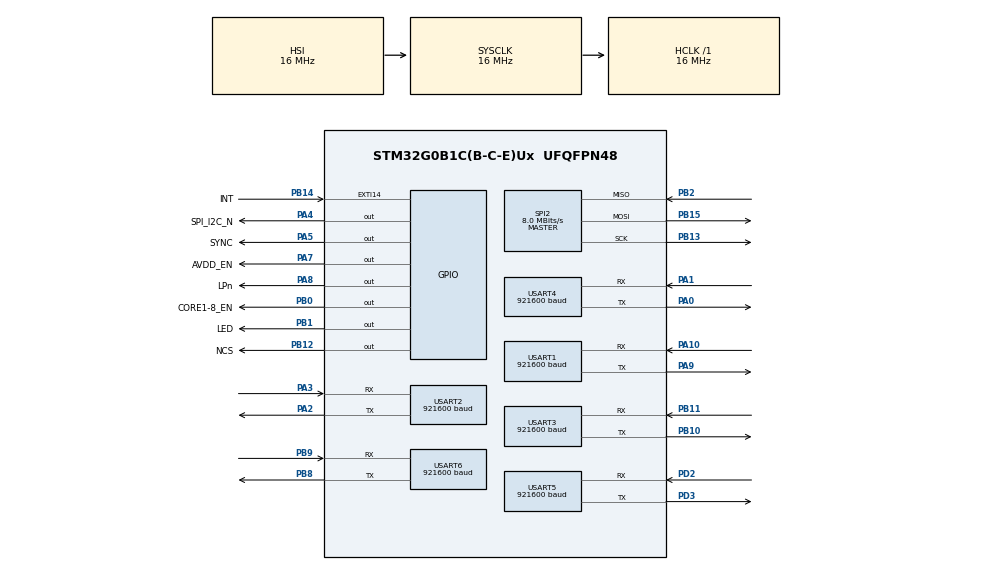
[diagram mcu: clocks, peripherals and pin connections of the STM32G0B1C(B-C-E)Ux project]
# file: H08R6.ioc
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Dma.Request0=USART1_RX
Dma.Request1=USART2_RX
Dma.Request2=USART3_RX
Dma.Request3=USART4_RX
Dma.Request4=USART5_RX
Dma.Request5=USART6_RX
Dma.USART1_RX.0.Direction=DMA_PERIPH_TO_MEMORY
Dma.USART1_RX.0.EventEnable=DISABLE
Dma.USART1_RX.0.Instance=DMA1_Channel1
Dma.USART1_RX.0.MemDataAlignment=DMA_MDATAALIGN_BYTE
Dma.USART1_RX.0.MemInc=DMA_MINC_ENABLE
Dma.USART1_RX.0.Mode=DMA_NORMAL
Dma.USART1_RX.0.PeriphDataAlignment=DMA_PDATAALIGN_BYTE
Dma.USART1_RX.0.PeriphInc=DMA_PINC_DISABLE
Dma.USART1_RX.0.Polarity=HAL_DMAMUX_REQ_GEN_RISING
Dma.USART1_RX.0.Priority=DMA_PRIORITY_LOW
Dma.USART1_RX.0.RequestNumber=1
Dma.USART1_RX.0.SignalID=NONE
Dma.USART1_RX.0.SyncEnable=DISABLE
Dma.USART1_RX.0.SyncPolarity=HAL_DMAMUX_SYNC_NO_EVENT
Dma.USART1_RX.0.SyncRequestNumber=1
Dma.USART1_RX.0.SyncSignalID=NONE
Dma.USART2_RX.1.Direction=DMA_PERIPH_TO_MEMORY
Dma.USART2_RX.1.EventEnable=DISABLE
Dma.USART2_RX.1.Instance=DMA1_Channel2
Dma.USART2_RX.1.MemDataAlignment=DMA_MDATAALIGN_BYTE
Dma.USART2_RX.1.MemInc=DMA_MINC_ENABLE
Dma.USART2_RX.1.Mode=DMA_NORMAL
Dma.USART2_RX.1.PeriphDataAlignment=DMA_PDATAALIGN_BYTE
Dma.USART2_RX.1.PeriphInc=DMA_PINC_DISABLE
Dma.USART2_RX.1.Polarity=HAL_DMAMUX_REQ_GEN_RISING
Dma.USART2_RX.1.Priority=DMA_PRIORITY_LOW
Dma.USART2_RX.1.RequestNumber=1
Dma.USART2_RX.1.SignalID=NONE
Dma.USART2_RX.1.SyncEnable=DISABLE
Dma.USART2_RX.1.SyncPolarity=HAL_DMAMUX_SYNC_NO_EVENT
Dma.USART2_RX.1.SyncRequestNumber=1
Dma.USART2_RX.1.SyncSignalID=NONE
Dma.USART3_RX.2.Direction=DMA_PERIPH_TO_MEMORY
Dma.USART3_RX.2.EventEnable=DISABLE
Dma.USART3_RX.2.Instance=DMA1_Channel3
Dma.USART3_RX.2.MemDataAlignment=DMA_MDATAALIGN_BYTE
Dma.USART3_RX.2.MemInc=DMA_MINC_ENABLE
Dma.USART3_RX.2.Mode=DMA_NORMAL
Dma.USART3_RX.2.PeriphDataAlignment=DMA_PDATAALIGN_BYTE
Dma.USART3_RX.2.PeriphInc=DMA_PINC_DISABLE
Dma.USART3_RX.2.Polarity=HAL_DMAMUX_REQ_GEN_RISING
Dma.USART3_RX.2.Priority=DMA_PRIORITY_LOW
Dma.USART3_RX.2.RequestNumber=1
Dma.USART3_RX.2.SignalID=NONE
Dma.USART3_RX.2.SyncEnable=DISABLE
Dma.USART3_RX.2.SyncPolarity=HAL_DMAMUX_SYNC_NO_EVENT
Dma.USART3_RX.2.SyncRequestNumber=1
Dma.USART3_RX.2.SyncSignalID=NONE
Dma.USART4_RX.3.Direction=DMA_PERIPH_TO_MEMORY
Dma.USART4_RX.3.EventEnable=DISABLE
Dma.USART4_RX.3.Instance=DMA1_Channel4
Dma.USART4_RX.3.MemDataAlignment=DMA_MDATAALIGN_BYTE
Dma.USART4_RX.3.MemInc=DMA_MINC_ENABLE
Dma.USART4_RX.3.Mode=DMA_NORMAL
Dma.USART4_RX.3.PeriphDataAlignment=DMA_PDATAALIGN_BYTE
Dma.USART4_RX.3.PeriphInc=DMA_PINC_DISABLE
Dma.USART4_RX.3.Polarity=HAL_DMAMUX_REQ_GEN_RISING
Dma.USART4_RX.3.Priority=DMA_PRIORITY_LOW
Dma.USART4_RX.3.RequestNumber=1
Dma.USART4_RX.3.SignalID=NONE
Dma.USART4_RX.3.SyncEnable=DISABLE
Dma.USART4_RX.3.SyncPolarity=HAL_DMAMUX_SYNC_NO_EVENT
Dma.USART4_RX.3.SyncRequestNumber=1
Dma.USART4_RX.3.SyncSignalID=NONE
Dma.USART5_RX.4.Direction=DMA_PERIPH_TO_MEMORY
Dma.USART5_RX.4.EventEnable=DISABLE
Dma.USART5_RX.4.Instance=DMA1_Channel5
Dma.USART5_RX.4.MemDataAlignment=DMA_MDATAALIGN_BYTE
Dma.USART5_RX.4.MemInc=DMA_MINC_ENABLE
Dma.USART5_RX.4.Mode=DMA_NORMAL
Dma.USART5_RX.4.PeriphDataAlignment=DMA_PDATAALIGN_BYTE
Dma.USART5_RX.4.PeriphInc=DMA_PINC_DISABLE
Dma.USART5_RX.4.Polarity=HAL_DMAMUX_REQ_GEN_RISING
Dma.USART5_RX.4.Priority=DMA_PRIORITY_LOW
Dma.USART5_RX.4.RequestNumber=1
Dma.USART5_RX.4.SignalID=NONE
Dma.USART5_RX.4.SyncEnable=DISABLE
Dma.USART5_RX.4.SyncPolarity=HAL_DMAMUX_SYNC_NO_EVENT
Dma.USART5_RX.4.SyncRequestNumber=1
Dma.USART5_RX.4.SyncSignalID=NONE
Dma.USART6_RX.5.Direction=DMA_PERIPH_TO_MEMORY
Dma.USART6_RX.5.EventEnable=DISABLE
Dma.USART6_RX.5.Instance=DMA1_Channel6
Dma.USART6_RX.5.MemDataAlignment=DMA_MDATAALIGN_BYTE
Dma.USART6_RX.5.MemInc=DMA_MINC_ENABLE
Dma.USART6_RX.5.Mode=DMA_NORMAL
Dma.USART6_RX.5.PeriphDataAlignment=DMA_PDATAALIGN_BYTE
Dma.USART6_RX.5.PeriphInc=DMA_PINC_DISABLE
Dma.USART6_RX.5.Polarity=HAL_DMAMUX_REQ_GEN_RISING
Dma.USART6_RX.5.Priority=DMA_PRIORITY_LOW
Dma.USART6_RX.5.RequestNumber=1
Dma.USART6_RX.5.SignalID=NONE
Dma.USART6_RX.5.SyncEnable=DISABLE
Dma.USART6_RX.5.SyncPolarity=HAL_DMAMUX_SYNC_NO_EVENT
Dma.USART6_RX.5.SyncRequestNumber=1
Dma.USART6_RX.5.SyncSignalID=NONE
Mcu.Family=STM32G0
Mcu.Name=STM32G0B1C(B-C-E)Ux
Mcu.Package=UFQFPN48
NVIC.DMA1_Ch4_7_DMA2_Ch1_5_DMAMUX1_OVR_IRQn=true\:0\:0\:false\:false\:true\:false\:true\:true
NVIC.DMA1_Channel1_IRQn=true\:0\:0\:false\:false\:true\:false\:true\:true
NVIC.DMA1_Channel2_3_IRQn=true\:0\:0\:false\:false\:true\:false\:true\:true
NVIC.EXTI4_15_IRQn=true\:0\:0\:false\:false\:true\:true\:true\:true
PA0.Mode=Asynchronous
PA0.Signal=USART4_TX
PA1.Mode=Asynchronous
PA1.Signal=USART4_RX
PA10.Mode=Asynchronous
PA10.Signal=USART1_RX
PA2.Mode=Asynchronous
PA2.Signal=USART2_TX
PA3.Mode=Asynchronous
PA3.Signal=USART2_RX
PA4.GPIO_Label=SPI_I2C_N
PA4.PinState=GPIO_PIN_SET
PA4.Signal=GPIO_Output
PA5.GPIO_Label=SYNC
PA5.Signal=GPIO_Output
PA7.GPIO_Label=AVDD_EN
PA7.Signal=GPIO_Output
PA8.GPIO_Label=LPn
PA8.Signal=GPIO_Output
PA9.Mode=Asynchronous
PA9.Signal=USART1_TX
PB0.GPIO_Label=CORE1-8_EN
PB0.Signal=GPIO_Output
PB1.GPIO_Label=LED
PB1.Signal=GPIO_Output
PB10.Mode=Asynchronous
PB10.Signal=USART3_TX
PB11.Mode=Asynchronous
PB11.Signal=USART3_RX
PB12.GPIO_Label=NCS
PB12.Signal=GPIO_Output
PB13.Mode=Full_Duplex_Master
PB13.Signal=SPI2_SCK
PB14.GPIO_Label=INT
PB14.GPIO_ModeDefaultEXTI=GPIO_MODE_IT_FALLING
PB14.Signal=GPXTI14
PB15.Mode=Full_Duplex_Master
PB15.Signal=SPI2_MOSI
PB2.Mode=Full_Duplex_Master
PB2.Signal=SPI2_MISO
PB8.Mode=Asynchronous
PB8.Signal=USART6_TX
PB9.Mode=Asynchronous
PB9.Signal=USART6_RX
PD2.Mode=Asynchronous
PD2.Signal=USART5_RX
PD3.Mode=Asynchronous
PD3.Signal=USART5_TX
PF0-OSC_IN\ (PF0).Mode=HSE-External-Oscillator
PF0-OSC_IN\ (PF0).Signal=RCC_OSC_IN
PF1-OSC_OUT\ (PF1).Mode=HSE-External-Oscillator
PF1-OSC_OUT\ (PF1).Signal=RCC_OSC_OUT
ProjectManager.HeapSize=0x200
ProjectManager.StackSize=0x400
ProjectManager.TargetToolchain=STM32CubeIDE
RCC.AHBFreq_Value=16000000
RCC.CortexFreq_Value=16000000
RCC.EXTERNAL_CLOCK_VALUE=48000
RCC.HCLKFreq_Value=16000000
RCC.HSE_VALUE=8000000
RCC.HSI48_VALUE=48000000
RCC.HSI_VALUE=16000000
RCC.LSE_VALUE=32768
RCC.SYSCLKFreq_VALUE=16000000
RCC.USBFreq_Value=48000000
RCC.VCOOutputFreq_Value=128000000
SPI2.CalculateBaudRate=8.0 MBits/s
SPI2.Direction=SPI_DIRECTION_2LINES
SPI2.Mode=SPI_MODE_MASTER
SPI2.VirtualType=VM_MASTER
USART1.BaudRate=921600
USART1.VirtualMode-Asynchronous=VM_ASYNC
USART2.BaudRate=921600
USART2.VirtualMode-Asynchronous=VM_ASYNC
USART3.BaudRate=921600
USART3.VirtualMode-Asynchronous=VM_ASYNC
USART4.BaudRate=921600
USART4.VirtualMode-Asynchronous=VM_ASYNC
USART5.BaudRate=921600
USART5.VirtualMode-Asynchronous=VM_ASYNC
USART6.BaudRate=921600
USART6.VirtualMode-Asynchronous=VM_ASYNC
VP_SYS_VS_DBSignals.Mode=DisableDeadBatterySignals
board=custom

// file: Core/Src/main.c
/* USER CODE BEGIN Header */
/**
  ******************************************************************************
  * @file           : main.c
  * @brief          : Main program body
  ******************************************************************************
  * @attention
  *
  * Copyright (c) 2024 STMicroelectronics.
  * All rights reserved.
  *
  * This software is licensed under terms that can be found in the LICENSE file
  * in the root directory of this software component.
  * If no LICENSE file comes with this software, it is provided AS-IS.
  *
  ******************************************************************************
  */
/* USER CODE END Header */
#include "main.h"
#include "dma.h"
#include "spi.h"
#include "usart.h"
#include "gpio.h"

/* USER CODE BEGIN Includes */
#include <stdio.h>
#include "VL53L8CX_APIs.h"
/* USER CODE END Includes */

/* USER CODE BEGIN PTD */

int16_t Distance_average;

VL53L8CX_APIs_ResultsData 	Data;

//VL53L8CX_APIs_Distance 		Distance;

//VL53L8CX_APIs_NOfTargets 	Nb_target;

//VL53L8CX_APIs_Indicator 	Indicator;

int16_t Distance[16];
int16_t Nb_target[16];
int16_t Indicator[16];
/* USER CODE END PTD */

void SystemClock_Config(void);
/* USER CODE BEGIN PFP */
#define PUTCHAR_PROTOTYPE int __io_putchar(int ch)

PUTCHAR_PROTOTYPE
{
	HAL_UART_Transmit(&huart2, (uint8_t *)&ch, 1, 0xFFFF);
	return ch;
}
/* USER CODE END PFP */

int main(void)
{

  /* MCU Configuration--------------------------------------------------------*/

  /* Reset of all peripherals, Initializes the Flash interface and the Systick. */
  HAL_Init();

  /* Configure the system clock */
  SystemClock_Config();

  /* Initialize all configured peripherals */
  MX_GPIO_Init();
  MX_DMA_Init();
  MX_SPI2_Init();
  MX_USART1_UART_Init();
  MX_USART2_UART_Init();
  MX_USART3_UART_Init();
  MX_USART4_UART_Init();
  MX_USART5_UART_Init();
  MX_USART6_UART_Init();
  /* USER CODE BEGIN 2 */

  VL53L8CX_Init();

  /*VL53L8CX_SampleRangingAllData(&Data);

  VL53L8CX_MotionIndicator(&Indicator);

  VL53L8CX_SampleDistance(&Distance);

  VL53L8CX_SampleDistanceAverage(&Distance_average);*/

//  VL53L8CX_StreamDistance(&Distance_average, 5);

 // VL53L8CX_NumberofTargets(&Nb_target);

  /* USER CODE END 2 */

  /* Infinite loop */
  while (1)
  {

    /* USER CODE BEGIN 3 */
//	  VL53L8CX_SampleRangingAllData(&Data);

	  VL53L8CX_SampleDistance(Distance);

	  VL53L8CX_SampleDistanceAverage(&Distance_average);

	  VL53L8CX_MotionIndicator(Indicator);

	  VL53L8CX_NumberofTargets(Nb_target);

  }
  /* USER CODE END 3 */
}

void SystemClock_Config(void)
{
  RCC_OscInitTypeDef RCC_OscInitStruct = {0};
  RCC_ClkInitTypeDef RCC_ClkInitStruct = {0};

  /** Configure the main internal regulator output voltage
  */
  HAL_PWREx_ControlVoltageScaling(PWR_REGULATOR_VOLTAGE_SCALE1);

  /** Initializes the RCC Oscillators according to the specified parameters
  * in the RCC_OscInitTypeDef structure.
  */
  RCC_OscInitStruct.OscillatorType = RCC_OSCILLATORTYPE_HSI;
  RCC_OscInitStruct.HSIState = RCC_HSI_ON;
  RCC_OscInitStruct.HSIDiv = RCC_HSI_DIV1;
  RCC_OscInitStruct.HSICalibrationValue = RCC_HSICALIBRATION_DEFAULT;
  RCC_OscInitStruct.PLL.PLLState = RCC_PLL_NONE;
  if (HAL_RCC_OscConfig(&RCC_OscInitStruct) != HAL_OK)
  {
    Error_Handler();
  }

  /** Initializes the CPU, AHB and APB buses clocks
  */
  RCC_ClkInitStruct.ClockType = RCC_CLOCKTYPE_HCLK|RCC_CLOCKTYPE_SYSCLK
                              |RCC_CLOCKTYPE_PCLK1;
  RCC_ClkInitStruct.SYSCLKSource = RCC_SYSCLKSOURCE_HSI;
  RCC_ClkInitStruct.AHBCLKDivider = RCC_SYSCLK_DIV1;
  RCC_ClkInitStruct.APB1CLKDivider = RCC_HCLK_DIV1;

  if (HAL_RCC_ClockConfig(&RCC_ClkInitStruct, FLASH_LATENCY_0) != HAL_OK)
  {
    Error_Handler();
  }
}

void Error_Handler(void)
{
  __disable_irq();
  while (1)
  {
  }
}
